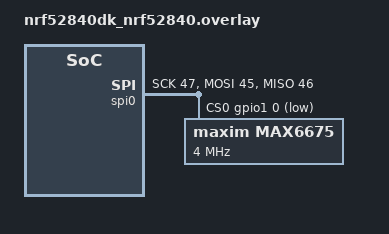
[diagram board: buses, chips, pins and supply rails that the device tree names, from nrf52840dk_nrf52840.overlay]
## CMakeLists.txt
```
cmake_minimum_required(VERSION 3.13.1)

set(SHIELD adafruit_2_8_tft_touch_v2)


find_package(Zephyr REQUIRED HINTS $ENV{ZEPHYR_BASE})
project(NONE)
zephyr_library_include_directories(configuration)

FILE(GLOB app_sources src/*.c src/images/*.c src/fonts/*.c)
target_sources(app PRIVATE ${app_sources})
```

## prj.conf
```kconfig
CONFIG_SERIAL=y

# Config logger
CONFIG_LOG=y
CONFIG_USE_SEGGER_RTT=n
CONFIG_LOG_BACKEND_RTT=n
CONFIG_LOG_BACKEND_UART=y

CONFIG_SPI=y
CONFIG_SENSOR=y
CONFIG_MAX6675=y

CONFIG_ASSERT=y

# From ncs-display-ble-example
CONFIG_HEAP_MEM_POOL_SIZE=16384
CONFIG_MAIN_STACK_SIZE=4096

CONFIG_DISPLAY=y
CONFIG_DISPLAY_LOG_LEVEL_ERR=y

CONFIG_LVGL=y
CONFIG_LVGL_ANTIALIAS=y
CONFIG_LVGL_USE_LABEL=y
CONFIG_LVGL_USE_CONT=y
CONFIG_LVGL_USE_BTN=y
CONFIG_LVGL_USE_CHECKBOX=y
CONFIG_LVGL_USE_IMG=y
CONFIG_LVGL_USE_THEME_MATERIAL=y
CONFIG_LVGL_USE_ANIMATION=y
CONFIG_LVGL_USE_SHADOW=y
CONFIG_LVGL_USE_CHART=y
CONFIG_LVGL_CHART_AXIS_TICK_LABEL_MAX_LEN=256

CONFIG_NEWLIB_LIBC=y
```

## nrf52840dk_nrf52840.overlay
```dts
&spi0 {
	compatible = "nordic,nrf-spi";
	status = "okay";
	sck-pin = <47>;
	mosi-pin = <45>;
	miso-pin = <46>;
	cs-gpios = <&gpio1 0 GPIO_ACTIVE_LOW>;

	max6675@0 {
		label = "MAX6675";
		compatible = "maxim,max6675";
		reg = <0>;
		spi-max-frequency = <4000000>;
	};
};
```

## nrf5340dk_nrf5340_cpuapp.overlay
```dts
&spi4 {
	status = "okay";

	cs-gpios =  < &arduino_header 0x10 0x1 >, < &arduino_header 0xc 0x1 >, <&gpio1 0 GPIO_ACTIVE_LOW>;

	max6675@2 {
		label = "MAX6675";
		compatible = "maxim,max6675";
		spi-max-frequency = <4000000>;
		reg = <2>;
	};
};
```

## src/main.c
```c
#include <sys/printk.h>
#include <zephyr.h>

#include "gui.h"
#include <drivers/sensor.h>
#include <logging/log.h>

LOG_MODULE_REGISTER(hello_world);

void on_gui_event(gui_event_t *event) {
  switch (event->evt_type) {
  case GUI_EVT_BUTTON_PRESSED:
    LOG_INF("Button pressed");
    //app_ble_send_button_state(event->button_checked);
    break;
  }
}

void main(void) {
  LOG_INF("Configuring GUI");
  gui_config_t gui_config = {.event_callback = on_gui_event};
  gui_init(&gui_config);

  LOG_INF("Configuring MAX6675");
  const struct device *dev = device_get_binding(DT_LABEL(DT_INST(0, maxim_max6675)));

  if (dev == NULL) {
    printk("Could not get MAX6675 device\n");
    return;
  }

  printk("dev %p name %s\n", dev, dev->name);

  while (true) {
    struct sensor_value temp;
    //LOG_INF("Fetching sample");
    int ret = sensor_sample_fetch(dev);
    if (ret) {
      LOG_ERR("sensor_sample_fetch %d", ret);
    }
    //LOG_INF("Reading value");
    ret = sensor_channel_get(dev, SENSOR_CHAN_AMBIENT_TEMP, &temp);
    if (ret) {
      LOG_ERR("sensor_channel_get %d", ret);
    }
    LOG_INF("Temperature: %d.%d", temp.val1, 25 * temp.val2);
    gui_add_point_to_chart(temp.val1 + .25f * temp.val2);
    k_sleep(K_MSEC(1000));

    //LOG_INF("Hello log info");
    //LOG_DBG("Hello log debug");
    //int x = 5;
    //int y = 2;
    //int result = multiply(x, y);
    //LOG_INF("Multiply result %d", result);
  }
}
```

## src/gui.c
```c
#include "gui.h"
#include <device.h>
#include <drivers/display.h>
#include <lvgl.h>
#include <stdio.h>
#include <string.h>
#include <zephyr.h>

#define LOG_LEVEL CONFIG_LOG_DEFAULT_LEVEL
#include <logging/log.h>
LOG_MODULE_REGISTER(gui);

bool gui_initialized = false;
uint32_t count = 0U;
char count_str[11] = {0};
const struct device *display_dev;

static gui_event_t m_gui_event;
static gui_callback_t m_gui_callback = 0;

// Create a message queue for handling external GUI commands
K_MSGQ_DEFINE(m_gui_cmd_queue, sizeof(gui_message_t), 8, 4);

// Define a timer to update the GUI periodically
static void on_gui_blink_timer(struct k_timer *dummy);
K_TIMER_DEFINE(gui_blink_timer, on_gui_blink_timer, NULL);

char *on_off_strings[2] = {"On", "Off"};

// GUI objects
lv_obj_t *top_header;
lv_obj_t *top_header_logo;
lv_obj_t *label_button, *label_led, *label_bt_state_hdr, *label_bt_state;
lv_obj_t *connected_background;
lv_obj_t *label_btn_state, *label_led_state;
lv_obj_t *btn1, *btn1_label;
lv_obj_t *checkbox_led;
lv_obj_t *image_led;
lv_obj_t *image_bg[12];

// Styles
lv_style_t style_btn, style_label, style_label_value, style_checkbox;
lv_style_t style_header, style_con_bg, style_chart, style_series;

// Fonts
LV_FONT_DECLARE(arial_20bold);
LV_FONT_DECLARE(calibri_20b);
LV_FONT_DECLARE(calibri_20);
LV_FONT_DECLARE(calibri_24b);
LV_FONT_DECLARE(calibri_32b);

// Images
//LV_IMG_DECLARE(nod_logo);
//LV_IMG_DECLARE(led_on);
//LV_IMG_DECLARE(led_off);
//LV_IMG_DECLARE(img_noise_background);

// Data chart
lv_obj_t *chart;
lv_chart_series_t *temperature;

static void gui_show_connected_elements(bool connected);

static void on_button1(lv_obj_t *btn, lv_event_t event) {
  if (btn == btn1) {
    if (event == LV_EVENT_PRESSED) {
      lv_label_set_text(label_btn_state, "Pressed");
      if (m_gui_callback) {
        m_gui_event.evt_type = GUI_EVT_BUTTON_PRESSED;
        m_gui_event.button_checked = true;
        m_gui_callback(&m_gui_event);
      }
    } else if (event == LV_EVENT_RELEASED) {
      lv_label_set_text(label_btn_state, "Released");
      if (m_gui_callback) {
        m_gui_event.evt_type = GUI_EVT_BUTTON_PRESSED;
        m_gui_event.button_checked = false;
        m_gui_callback(&m_gui_event);
      }
    }
  }
}

static void init_styles(void) {
  /*Create background style*/
  static lv_style_t style_screen;
  lv_style_set_bg_color(&style_screen, LV_STATE_DEFAULT, LV_COLOR_MAKE(0xcb, 0xca, 0xff));
  lv_obj_add_style(lv_scr_act(), LV_BTN_PART_MAIN, &style_screen);

  /*Create the screen header label style*/
  lv_style_init(&style_header);
  lv_style_set_bg_opa(&style_header, LV_STATE_DEFAULT, LV_OPA_COVER);
  lv_style_set_bg_color(&style_header, LV_STATE_DEFAULT, LV_COLOR_MAKE(0x1C, 0x11, 0xFD));
  lv_style_set_radius(&style_header, LV_STATE_DEFAULT, 8);
  //lv_style_set_bg_grad_color(&style_header, LV_STATE_DEFAULT, LV_COLOR_TEAL);
  //lv_style_set_bg_grad_dir(&style_header, LV_STATE_DEFAULT, LV_GRAD_DIR_VER);
  lv_style_set_pad_left(&style_header, LV_STATE_DEFAULT, 70);
  lv_style_set_pad_top(&style_header, LV_STATE_DEFAULT, 30);
  lv_style_set_shadow_spread(&style_header, LV_STATE_DEFAULT, 1);
  lv_style_set_shadow_color(&style_header, LV_STATE_DEFAULT, LV_COLOR_BLACK);
  lv_style_set_shadow_opa(&style_header, LV_STATE_DEFAULT, 255);
  lv_style_set_shadow_width(&style_header, LV_STATE_DEFAULT, 1);
  lv_style_set_shadow_ofs_x(&style_header, LV_STATE_DEFAULT, 1);
  lv_style_set_shadow_ofs_y(&style_header, LV_STATE_DEFAULT, 2);
  lv_style_set_shadow_opa(&style_header, LV_STATE_DEFAULT, LV_OPA_50);

  /*Screen header text style*/
  lv_style_set_text_color(&style_header, LV_STATE_DEFAULT, LV_COLOR_MAKE(0x7d, 0xce, 0xfd));
  lv_style_set_text_font(&style_header, LV_STATE_DEFAULT, &calibri_32b);

  lv_style_init(&style_con_bg);
  lv_style_copy(&style_con_bg, &style_header);
  lv_style_set_bg_color(&style_con_bg, LV_STATE_DEFAULT, LV_COLOR_MAKE(0x69, 0xb0, 0x5a));
  lv_style_set_bg_opa(&style_con_bg, LV_STATE_DEFAULT, LV_OPA_50);
  lv_style_set_radius(&style_header, LV_STATE_DEFAULT, 4);

  /*Create a label style*/
  lv_style_init(&style_label);
  lv_style_set_bg_opa(&style_label, LV_STATE_DEFAULT, LV_OPA_COVER);
  lv_style_set_bg_color(&style_label, LV_STATE_DEFAULT, LV_COLOR_SILVER);
  lv_style_set_bg_grad_color(&style_label, LV_STATE_DEFAULT, LV_COLOR_GRAY);
  lv_style_set_bg_grad_dir(&style_label, LV_STATE_DEFAULT, LV_GRAD_DIR_VER);
  lv_style_set_pad_left(&style_label, LV_STATE_DEFAULT, 5);
  lv_style_set_pad_top(&style_label, LV_STATE_DEFAULT, 10);

  /*Add a border*/
  lv_style_set_border_color(&style_label, LV_STATE_DEFAULT, LV_COLOR_WHITE);
  lv_style_set_border_opa(&style_label, LV_STATE_DEFAULT, LV_OPA_70);
  lv_style_set_border_width(&style_label, LV_STATE_DEFAULT, 3);

  /*Set the text style*/
  lv_style_set_text_color(&style_label, LV_STATE_DEFAULT, LV_COLOR_MAKE(0x00, 0x00, 0x30));
  lv_style_set_text_font(&style_label, LV_STATE_DEFAULT, &calibri_20b);

  /*Create a label value style*/
  lv_style_init(&style_label_value);
  lv_style_set_bg_opa(&style_label_value, LV_STATE_DEFAULT, LV_OPA_20);
  lv_style_set_bg_color(&style_label_value, LV_STATE_DEFAULT, LV_COLOR_SILVER);
  lv_style_set_bg_grad_color(&style_label_value, LV_STATE_DEFAULT, LV_COLOR_TEAL);
  lv_style_set_bg_grad_dir(&style_label_value, LV_STATE_DEFAULT, LV_GRAD_DIR_VER);
  lv_style_set_pad_left(&style_label_value, LV_STATE_DEFAULT, 0);
  lv_style_set_pad_top(&style_label_value, LV_STATE_DEFAULT, 3);

  /*Set the text style*/
  lv_style_set_text_color(&style_label_value, LV_STATE_DEFAULT, LV_COLOR_MAKE(0x00, 0x00, 0x30));
  lv_style_set_text_font(&style_label_value, LV_STATE_DEFAULT, &calibri_20);

  /*Create a simple button style*/
  lv_style_init(&style_btn);
  lv_style_set_radius(&style_btn, LV_STATE_DEFAULT, 10);
  lv_style_set_bg_opa(&style_btn, LV_STATE_DEFAULT, LV_OPA_COVER);
  lv_style_set_bg_color(&style_btn, LV_STATE_DEFAULT, LV_COLOR_SILVER);
  lv_style_set_bg_grad_color(&style_btn, LV_STATE_DEFAULT, LV_COLOR_GRAY);
  lv_style_set_bg_grad_dir(&style_btn, LV_STATE_DEFAULT, LV_GRAD_DIR_VER);
  lv_style_set_shadow_spread(&style_btn, LV_STATE_DEFAULT, 1);
  lv_style_set_shadow_color(&style_btn, LV_STATE_DEFAULT, LV_COLOR_GRAY);
  lv_style_set_shadow_opa(&style_btn, LV_STATE_DEFAULT, 255);
  lv_style_set_shadow_width(&style_btn, LV_STATE_DEFAULT, 1);

  /*Swap the colors in pressed state*/
  lv_style_set_bg_color(&style_btn, LV_STATE_PRESSED, LV_COLOR_GRAY);
  lv_style_set_bg_grad_color(&style_btn, LV_STATE_PRESSED, LV_COLOR_SILVER);

  /*Add a border*/
  lv_style_set_border_color(&style_btn, LV_STATE_DEFAULT, LV_COLOR_BLACK);
  lv_style_set_border_opa(&style_btn, LV_STATE_DEFAULT, LV_OPA_70);
  lv_style_set_border_width(&style_btn, LV_STATE_DEFAULT, 3);

  /*Different border color in focused state*/
  lv_style_set_border_color(&style_btn, LV_STATE_FOCUSED, LV_COLOR_BLACK);
  lv_style_set_border_color(&style_btn, LV_STATE_FOCUSED | LV_STATE_PRESSED, LV_COLOR_NAVY);

  /*Set the text style*/
  lv_style_set_text_color(&style_btn, LV_STATE_DEFAULT, LV_COLOR_TEAL);
  lv_style_set_text_font(&style_btn, LV_STATE_DEFAULT, &calibri_24b);

  /*Make the button smaller when pressed*/
  lv_style_set_transform_height(&style_btn, LV_STATE_PRESSED, -4);
  lv_style_set_transform_width(&style_btn, LV_STATE_PRESSED, -8);
#if LV_USE_ANIMATION
  /*Add a transition to the size change*/
  static lv_anim_path_t path;
  lv_anim_path_init(&path);
  lv_anim_path_set_cb(&path, lv_anim_path_overshoot);

  lv_style_set_transition_prop_1(&style_btn, LV_STATE_DEFAULT, LV_STYLE_TRANSFORM_HEIGHT);
  lv_style_set_transition_prop_2(&style_btn, LV_STATE_DEFAULT, LV_STYLE_TRANSFORM_WIDTH);
  lv_style_set_transition_time(&style_btn, LV_STATE_DEFAULT, 300);
  lv_style_set_transition_path(&style_btn, LV_STATE_DEFAULT, &path);
#endif
  lv_style_init(&style_chart);
  lv_style_set_radius(&style_chart, LV_STATE_DEFAULT, 0);
  lv_style_set_bg_opa(&style_chart, LV_STATE_DEFAULT, LV_OPA_COVER);
  lv_style_set_bg_color(&style_chart, LV_STATE_DEFAULT , LV_COLOR_ORANGE);

  lv_style_init(&style_series);
  lv_style_set_size(&style_series, LV_STATE_DEFAULT, 0);
}

void gui_add_point_to_chart(float val) {
  if(gui_initialized) {
    lv_chart_set_next(chart, temperature, (lv_coord_t)val);
    lv_chart_refresh(chart); /*Required after direct set*/

    char s[15];
    snprintk(s, sizeof(s), "Temp: %d.%02d'C", (uint8_t)(val), (short)(val * 100) % 100);
    lv_label_set_text(label_btn_state, s);
  }
}

static void init_chart_gui(void) {
  /*Create a chart*/
  chart = lv_chart_create(lv_scr_act(), NULL);
  lv_obj_set_size(chart, 320, 150);
  lv_obj_align(chart, NULL, LV_ALIGN_IN_TOP_MID, 0, 0);
  lv_chart_set_type(chart, LV_CHART_TYPE_LINE); /*Show lines and points too*/
  lv_chart_set_point_count(chart, 200);
  lv_chart_set_x_tick_length(chart, 10, 1);
  lv_obj_add_style(chart, LV_CHART_PART_BG, &style_chart);
  lv_obj_add_style(chart, LV_CHART_PART_SERIES, &style_series);

  /* Create last value label */
  label_btn_state = lv_label_create(lv_scr_act(), NULL);
  lv_obj_align(label_btn_state, chart, LV_ALIGN_OUT_BOTTOM_LEFT, 0, 0);
  lv_label_set_long_mode(label_btn_state, LV_LABEL_LONG_DOT);
  lv_label_set_text(label_btn_state, "Temp: ?");
  lv_label_set_align(label_btn_state, LV_LABEL_ALIGN_LEFT);
  lv_obj_add_style(label_btn_state, LV_LABEL_PART_MAIN, &style_label_value);
  lv_obj_set_size(label_btn_state, 130, 25);


  /*Add two data series*/
  temperature = lv_chart_add_series(chart, LV_COLOR_RED);
}

static void init_blinky_gui(void) {
  //for(int i = 0; i < 12; i++){
  //	int x_index = i % 4;
  //	int y_index = i / 4;
  //	image_bg[i] = lv_img_create(lv_scr_act(), NULL);
  //	lv_obj_set_pos(image_bg[i], x_index*80, y_index*80);
  //	lv_obj_set_size(image_bg[i], 80, 80);
  //	//lv_img_set_src(image_bg[i], &img_noise_background);
  //}

  // The connected header needs to be created before the top_header, to appear behind
  connected_background = lv_label_create(lv_scr_act(), NULL);
  lv_obj_add_style(connected_background, LV_LABEL_PART_MAIN, &style_con_bg);
  lv_label_set_long_mode(connected_background, LV_LABEL_LONG_DOT);
  lv_obj_set_pos(connected_background, 6, 65);
  lv_obj_set_size(connected_background, 308, 135);
  lv_label_set_text(connected_background, "");

  top_header = lv_label_create(lv_scr_act(), NULL);
  lv_obj_add_style(top_header, LV_LABEL_PART_MAIN, &style_header);
  lv_label_set_long_mode(top_header, LV_LABEL_LONG_DOT);
  lv_obj_set_pos(top_header, 3, 3);
  lv_obj_set_size(top_header, 314, 68);
  lv_label_set_text(top_header, "OTG Blinky");
  //lv_label_set_align(top_header, LV_LABEL_ALIGN_CENTER);

  //top_header_logo = lv_img_create(lv_scr_act(), NULL);
  //lv_obj_set_pos(top_header_logo, 0, 0);
  //lv_obj_set_size(top_header_logo, 68, 68);
  //lv_img_set_src(top_header_logo, &nod_logo);

  label_bt_state = lv_label_create(lv_scr_act(), NULL);
  lv_label_set_long_mode(label_bt_state, LV_LABEL_LONG_CROP);
  lv_label_set_align(label_bt_state, LV_LABEL_ALIGN_CENTER);
  lv_obj_set_pos(label_bt_state, 70, 210);
  lv_obj_set_size(label_bt_state, 180, 30);
  lv_label_set_text(label_bt_state, "Idle");
  lv_obj_add_style(label_bt_state, LV_LABEL_PART_MAIN, &style_label_value);

  btn1 = lv_btn_create(lv_scr_act(), NULL);        /*Add a button the current screen*/
  lv_obj_set_pos(btn1, 10, 90);                    /*Set its position*/
  lv_obj_set_size(btn1, 120, 50);                  /*Set its size*/
  lv_obj_reset_style_list(btn1, LV_BTN_PART_MAIN); /*Remove the styles coming from the theme*/
  lv_obj_add_style(btn1, LV_BTN_PART_MAIN, &style_btn);
  lv_btn_set_checkable(btn1, true);

  btn1_label = lv_label_create(btn1, NULL); /*Add a label to the button*/
  lv_label_set_text(btn1_label, "Button");  /*Set the labels text*/
  lv_obj_set_event_cb(btn1, on_button1);

  label_btn_state = lv_label_create(lv_scr_act(), NULL);
  lv_label_set_long_mode(label_btn_state, LV_LABEL_LONG_DOT);
  lv_obj_set_pos(label_btn_state, 10, 170);
  lv_obj_set_size(label_btn_state, 120, 25);
  lv_label_set_text(label_btn_state, "Released");
  lv_label_set_align(label_btn_state, LV_LABEL_ALIGN_CENTER);
  lv_obj_add_style(label_btn_state, LV_LABEL_PART_MAIN, &style_label_value);

  //image_led = lv_img_create(lv_scr_act(), NULL);
  //lv_obj_set_pos(image_led, 192, 68);
  //lv_obj_set_size(image_led, 68, 68);
  //lv_img_set_src(image_led, &led_off);

  label_led_state = lv_label_create(lv_scr_act(), NULL);
  lv_label_set_long_mode(label_led_state, LV_LABEL_LONG_DOT);
  lv_obj_set_pos(label_led_state, 170, 170);
  lv_obj_set_size(label_led_state, 120, 25);
  lv_label_set_text(label_led_state, "Off");
  lv_label_set_align(label_led_state, LV_LABEL_ALIGN_CENTER);
  lv_obj_add_style(label_led_state, LV_LABEL_PART_MAIN, &style_label_value);

  gui_show_connected_elements(true);
}

static void gui_show_connected_elements(bool connected) {
  lv_obj_set_hidden(connected_background, !connected);
  lv_obj_set_hidden(btn1, !connected);
  lv_obj_set_hidden(label_btn_state, !connected);
  //lv_obj_set_hidden(image_led, !connected);
  lv_obj_set_hidden(label_led_state, !connected);
}

static void set_bt_state(gui_bt_state_t state) {
  bool connected = false;
  switch (state) {
  case GUI_BT_STATE_IDLE:
    k_timer_stop(&gui_blink_timer);
    lv_label_set_text(label_bt_state, "Idle");
    break;
  case GUI_BT_STATE_ADVERTISING:
    k_timer_start(&gui_blink_timer, K_MSEC(500), K_MSEC(500));
    lv_label_set_text(label_bt_state, "Advertising");
    break;
  case GUI_BT_STATE_CONNECTED:
    k_timer_stop(&gui_blink_timer);
    lv_label_set_text(label_bt_state, "Connected");
    connected = true;
    break;
  }
  gui_show_connected_elements(connected);
}

static void on_gui_blink_timer(struct k_timer *dummy) {
  static bool blink_state;
  blink_state = !blink_state;
  lv_label_set_text(label_bt_state, blink_state ? "Advertising" : "");
}

void gui_init(gui_config_t *config) {
  m_gui_callback = config->event_callback;
}

void gui_set_bt_state(gui_bt_state_t state) {
  static gui_message_t set_bt_state_msg;
  set_bt_state_msg.type = GUI_MSG_SET_BT_STATE;
  set_bt_state_msg.params.bt_state = state;
  k_msgq_put(&m_gui_cmd_queue, &set_bt_state_msg, K_NO_WAIT);
}

void gui_set_bt_led_state(bool led_is_on) {
  static gui_message_t set_led_state_msg;
  set_led_state_msg.type = GUI_MSG_SET_LED_STATE;
  set_led_state_msg.params.led_state = led_is_on;
  k_msgq_put(&m_gui_cmd_queue, &set_led_state_msg, K_NO_WAIT);
}

static void process_cmd_msg_queue(void) {
  gui_message_t cmd_message;
  while (k_msgq_get(&m_gui_cmd_queue, &cmd_message, K_NO_WAIT) == 0) {
    // Process incoming commands depending on type
    switch (cmd_message.type) {
    case GUI_MSG_SET_STATE:
      break;
    case GUI_MSG_SET_BT_STATE:
      set_bt_state(cmd_message.params.bt_state);
      break;
    case GUI_MSG_SET_LED_STATE:
      //lv_img_set_src(image_led, cmd_message.params.led_state ? &led_on : &led_off);
      lv_label_set_text(label_led_state, cmd_message.params.led_state ? "On" : "Off");
      break;
    }
  }
}

void gui_run(void) {
  display_dev = device_get_binding(CONFIG_LVGL_DISPLAY_DEV_NAME);

  if (display_dev == NULL) {
    LOG_ERR("Display device not found!");
    return;
  }

  init_styles();

  init_chart_gui();

  display_blanking_off(display_dev);

  gui_initialized = true;

  while (1) {
    process_cmd_msg_queue();
    lv_task_handler();
    k_sleep(K_MSEC(20));
  }
}

// Define our GUI thread, using a stack size of 4096 and a priority of 7
K_THREAD_DEFINE(gui_thread, 4096, gui_run, NULL, NULL, NULL, 7, 0, 0);
```

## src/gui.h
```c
#ifndef __GUI_H
#define __GUI_H

#include <zephyr.h>

typedef enum {GUI_EVT_BUTTON_PRESSED} gui_event_type_t;

typedef enum {GUI_BT_STATE_IDLE, GUI_BT_STATE_ADVERTISING, GUI_BT_STATE_CONNECTED} gui_bt_state_t;

typedef struct
{
	gui_event_type_t evt_type;
	bool button_checked;
} gui_event_t;

typedef enum  {GUI_MSG_SET_STATE, GUI_MSG_SET_BT_STATE, GUI_MSG_SET_LED_STATE} gui_msg_type_t;

typedef struct
{
	gui_msg_type_t type;
	void *p_data;
	union 
	{
		gui_bt_state_t bt_state;
		bool led_state;
	} params;
} gui_message_t;


typedef void (*gui_callback_t)(gui_event_t *event);

typedef struct
{
	gui_callback_t event_callback;
} gui_config_t;

void gui_init(gui_config_t * config);

void gui_update(void);

void gui_set_bt_state(gui_bt_state_t state);

void gui_set_bt_led_state(bool led_on);

void gui_add_point_to_chart(float val);

#endif
```
